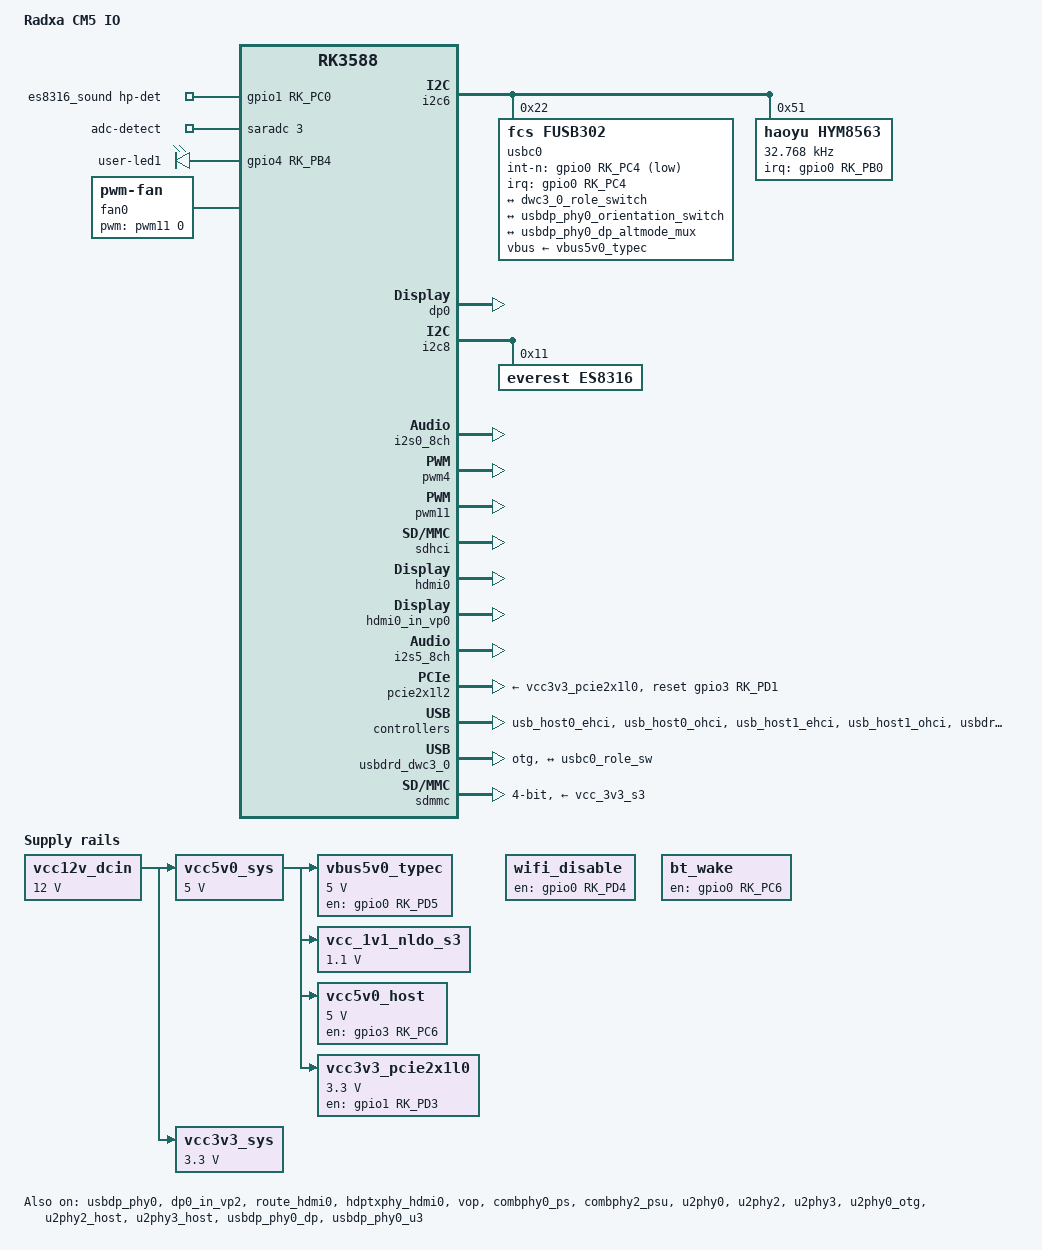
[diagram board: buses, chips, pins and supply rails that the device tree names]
// SPDX-License-Identifier: (GPL-2.0+ OR MIT)
/*
 * Copyright (c) 2023 Rockchip Electronics Co., Ltd.
 * Copyright (c) 2023 Radxa Limited
 *
 */

/dts-v1/;

#include "rk3588s-radxa-cm5.dtsi"

/ {
	model = "Radxa CM5 IO";
	compatible = "radxa,cm5-io", "radxa,cm5", "rockchip,rk3588";

	/delete-node/ chosen;

	vcc12v_dcin: vcc12v-dcin {
		compatible = "regulator-fixed";
		regulator-name = "vcc12v_dcin";
		regulator-always-on;
		regulator-boot-on;
		regulator-min-microvolt = <12000000>;
		regulator-max-microvolt = <12000000>;
	};

	vcc5v0_sys: vcc5v0-sys {
		compatible = "regulator-fixed";
		regulator-name = "vcc5v0_sys";
		regulator-always-on;
		regulator-boot-on;
		regulator-min-microvolt = <5000000>;
		regulator-max-microvolt = <5000000>;
		vin-supply = <&vcc12v_dcin>;
	};

	vbus5v0_typec: vbus5v0-typec {
		compatible = "regulator-fixed";
		regulator-name = "vbus5v0_typec";
		gpio = <&gpio0 RK_PD5 GPIO_ACTIVE_HIGH>;
		pinctrl-names = "default";
		pinctrl-0 = <&vbus5v0_typec_en>;
		enable-active-high;
		regulator-boot-on;
		regulator-min-microvolt = <5000000>;
		regulator-max-microvolt = <5000000>;
		vin-supply = <&vcc5v0_sys>;
	};

	vcc_1v1_nldo_s3: vcc-1v1-nldo-s3 {
		compatible = "regulator-fixed";
		regulator-name = "vcc_1v1_nldo_s3";
		regulator-always-on;
		regulator-boot-on;
		regulator-min-microvolt = <1100000>;
		regulator-max-microvolt = <1100000>;
		vin-supply = <&vcc5v0_sys>;
	};

	hdmi0_sound: hdmi0-sound {
		status = "okay";
		compatible = "rockchip,hdmi";
		rockchip,mclk-fs = <128>;
		rockchip,card-name = "rockchip-hdmi0";
		rockchip,cpu = <&i2s5_8ch>;
		rockchip,codec = <&hdmi0>;
		rockchip,jack-det;
	};

	es8316_sound: es8316-sound {
		status = "okay";
		compatible = "rockchip,multicodecs-card";
		rockchip,card-name = "rockchip-es8316";
		rockchip,format = "i2s";
		rockchip,mclk-fs = <256>;
		rockchip,cpu = <&i2s0_8ch>;
		rockchip,codec = <&es8316>;
		poll-interval = <100>;
		io-channels = <&saradc 3>;
		io-channel-names = "adc-detect";
		keyup-threshold-microvolt = <1800000>;
		pinctrl-0 = <&hp_det>;
		pinctrl-names = "default";
		hp-det-gpio = <&gpio1 RK_PC0 GPIO_ACTIVE_HIGH>;
		play-pause-key {
			label = "playpause";
			linux,code = <164>;
			press-threshold-microvolt = <2000>;
		};
	};

	vcc3v3_sys: vcc3v3-sys {
		compatible = "regulator-fixed";
		regulator-name = "vcc3v3_sys";
		regulator-always-on;
		regulator-boot-on;
		regulator-min-microvolt = <3300000>;
		regulator-max-microvolt = <3300000>;
		vin-supply = <&vcc12v_dcin>;
	};

	vcc5v0_host: vcc5v0-host-regulator {
		compatible = "regulator-fixed";
		regulator-name = "vcc5v0_host";
		regulator-boot-on;
		regulator-always-on;
		regulator-min-microvolt = <5000000>;
		regulator-max-microvolt = <5000000>;
		enable-active-high;
		gpio = <&gpio3 RK_PC6 GPIO_ACTIVE_HIGH>;
		pinctrl-names = "default";
		pinctrl-0 = <&vcc5v0_host_en>;
		vin-supply = <&vcc5v0_sys>;
	};

	vcc3v3_pcie2x1l0: vcc3v3-pcie2x1l0 {
		compatible = "regulator-fixed";
		regulator-name = "vcc3v3_pcie2x1l0";
		regulator-min-microvolt = <3300000>;
		regulator-max-microvolt = <3300000>;
		enable-active-high;
		regulator-boot-on;
		regulator-always-on;
		gpios = <&gpio1 RK_PD3 GPIO_ACTIVE_HIGH>;
		startup-delay-us = <50000>;
		vin-supply = <&vcc5v0_sys>;
	};

	wifi_disable: wifi-diable-gpio-regulator {
		compatible = "regulator-fixed";
		regulator-name = "wifi_disable";
		enable-active-high;
		gpio = <&gpio0 RK_PD4 GPIO_ACTIVE_HIGH>;
		regulator-boot-on;
		regulator-always-on;
	};

	bt_wake: bt-wake-gpio-regulator {
		compatible = "regulator-fixed";
		regulator-name = "bt_wake";
		enable-active-high;
		gpio = <&gpio0 RK_PC6 GPIO_ACTIVE_HIGH>;
		regulator-boot-on;
		regulator-always-on;
	};

    gpio-leds {
		compatible = "gpio-leds";
		pinctrl-names = "default";

		user-led1 {
			gpios = <&gpio4 RK_PB4 GPIO_ACTIVE_HIGH>;
			linux,default-trigger = "heartbeat";
			default-state = "on";
		};
	};

	fan0: pwm-fan {
		compatible = "pwm-fan";
		#cooling-cells = <2>;
		cooling-levels = <100 160 190 200 215 235 255>;
		pwms = <&pwm11 0 10000 0>;
		rockchip,temp-trips = <
			55000	1
			60000	2
			65000	3
			70000	4
			75000	5
			80000	6
		>;
	};
};

&i2c6 {
	status = "okay";
	pinctrl-names = "default";
	pinctrl-0 = <&i2c6m3_xfer>;

	usbc0: fusb302@22 {
		compatible = "fcs,fusb302";
		reg = <0x22>;
		interrupt-parent = <&gpio0>;
		interrupts = <RK_PC4 IRQ_TYPE_LEVEL_LOW>;
		int-n-gpios = <&gpio0 RK_PC4 GPIO_ACTIVE_LOW>;
		pinctrl-names = "default";
		pinctrl-0 = <&usbc0_int>;
		vbus-supply = <&vbus5v0_typec>;
		status = "okay";

		ports {
			#address-cells = <1>;
			#size-cells = <0>;
			port@0 {
			reg = <0>;
			usbc0_role_sw: endpoint@0 {
				remote-endpoint = <&dwc3_0_role_switch>;
				};
			};
		};

		usb_con: connector {
			compatible = "usb-c-connector";
			label = "USB-C";
			data-role = "dual";
			power-role = "dual";
			try-power-role = "sink";
			op-sink-microwatt = <1000000>;

			sink-pdos =
				<PDO_FIXED(5000, 1000, PDO_FIXED_USB_COMM)>;
			source-pdos =
				<PDO_FIXED(5000, 3000, PDO_FIXED_USB_COMM)>;

			altmodes {
				#address-cells = <1>;
				#size-cells = <0>;

				altmode@0 {
					reg = <0>;
					svid = <0xff01>;
					vdo = <0xffffffff>;
				};
			};

			ports {
				#address-cells = <1>;
				#size-cells = <0>;

				port@0 {
					reg = <0>;
					usbc0_orien_sw: endpoint {
						remote-endpoint = <&usbdp_phy0_orientation_switch>;
					};
				};

				port@1 {
					reg = <1>;
					dp_altmode_mux: endpoint {
						remote-endpoint = <&usbdp_phy0_dp_altmode_mux>;
					};
				};
			};
		};
	};

	hym8563: hym8563@51 {
		compatible = "haoyu,hym8563";
		reg = <0x51>;
		#clock-cells = <0>;
		clock-frequency = <32768>;
		clock-output-names = "hym8563";
		pinctrl-names = "default";
		pinctrl-0 = <&rtc_int>;
		interrupt-parent = <&gpio0>;
		interrupts = <RK_PB0 IRQ_TYPE_LEVEL_LOW>;
	};
};

&usbdp_phy0 {
	status = "okay";
	orientation-switch;
	svid = <0xff01>;
	sbu1-dc-gpios = <&gpio3 RK_PC4 GPIO_ACTIVE_HIGH>;
	sbu2-dc-gpios = <&gpio3 RK_PD4 GPIO_ACTIVE_HIGH>;

	port {
		#address-cells = <1>;
		#size-cells = <0>;
		usbdp_phy0_orientation_switch: endpoint@0 {
			reg = <0>;
			remote-endpoint = <&usbc0_orien_sw>;
		};

		usbdp_phy0_dp_altmode_mux: endpoint@1 {
			reg = <1>;
			remote-endpoint = <&dp_altmode_mux>;
		};
	};
};

&dp0 {
	status = "okay";
};

&dp0_in_vp2 {
	status = "okay";
};

&i2c8 {
	status = "okay";
	pinctrl-0 = <&i2c8m2_xfer>;

	es8316: es8316@11 {
		compatible = "everest,es8316";
		reg = <0x11>;
		clocks = <&cru I2S0_8CH_MCLKOUT>;
		clock-names = "mclk";
		pinctrl-names = "default";
		pinctrl-0 = <&i2s0_mclk>;
		#sound-dai-cells = <0>;
		status = "okay";
	};
};

&i2s0_8ch {
	status = "okay";
	rockchip,playback-channels = <2>;
	rockchip,capture-channels = <2>;
	#sound-dai-cells = <0>;
	pinctrl-names = "default";
	pinctrl-0 = <&i2s0_lrck
			 &i2s0_sclk
			 &i2s0_sdi0
			 &i2s0_sdo0>;
};


&pwm4 {
	status = "okay";
	pinctrl-0 = <&pwm4m0_pins>;
};

&pwm11 {
	status = "okay";
	pinctrl-0 = <&pwm11m3_pins>;
};

&sdhci {
	status = "okay";
};

&hdmi0 {
	status = "okay";
};

&hdmi0_in_vp0 {
	status = "okay";
};

&route_hdmi0 {
	status = "okay";
};

&hdptxphy_hdmi0 {
	status = "okay";
};

&i2s5_8ch {
	status = "okay";
};

&vop {
	status = "okay";
};

&vop_mmu {
	status = "okay";
};

&vp0 {
	rockchip,plane-mask = <(1 << ROCKCHIP_VOP2_CLUSTER0 | 1 << ROCKCHIP_VOP2_ESMART0)>;
	rockchip,primary-plane = <ROCKCHIP_VOP2_CLUSTER0>;
	cursor-win-id = <ROCKCHIP_VOP2_ESMART0>;
};

&vp1 {
	rockchip,plane-mask = <(1 << ROCKCHIP_VOP2_CLUSTER1 | 1 << ROCKCHIP_VOP2_ESMART1)>;
	rockchip,primary-plane = <ROCKCHIP_VOP2_CLUSTER1>;
	cursor-win-id = <ROCKCHIP_VOP2_ESMART1>;
};

&vp2 {
	rockchip,plane-mask = <(1 << ROCKCHIP_VOP2_CLUSTER2 | 1 << ROCKCHIP_VOP2_ESMART2)>;
	rockchip,primary-plane = <ROCKCHIP_VOP2_CLUSTER2>;
	cursor-win-id = <ROCKCHIP_VOP2_ESMART2>;
};

&vp3 {
	rockchip,plane-mask = <(1 << ROCKCHIP_VOP2_CLUSTER3 | 1 << ROCKCHIP_VOP2_ESMART3)>;
	rockchip,primary-plane = <ROCKCHIP_VOP2_CLUSTER3>;
	cursor-win-id = <ROCKCHIP_VOP2_ESMART3>;
};

&display_subsystem {
	clocks = <&hdptxphy_hdmi_clk0>;
	clock-names = "hdmi0_phy_pll";
};

&hdptxphy_hdmi_clk0 {
	status = "okay";
};

&pinctrl {

	usb {
		vcc5v0_host_en: vcc5v0-host-en {
			rockchip,pins = <3 RK_PC6 RK_FUNC_GPIO &pcfg_pull_none>;
		};
	};

	headphone {
		hp_det: hp-det {
			rockchip,pins = <1 RK_PC0 RK_FUNC_GPIO &pcfg_pull_up>;
		};
	};

	fusb302 {
		vbus5v0_typec_en: vbus5v0-typec-en {
			rockchip,pins = <0 RK_PD5 RK_FUNC_GPIO &pcfg_pull_none>;
		};

		usbc0_int: usbc0-int {
			rockchip,pins = <0 RK_PC4 RK_FUNC_GPIO &pcfg_pull_up>;
		};
	};

	hym8563 {
		rtc_int: rtc-int {
			rockchip,pins = <0 RK_PB0 RK_FUNC_GPIO &pcfg_pull_up>;
		};
	};
};

&pcie2x1l2 {
	reset-gpios = <&gpio3 RK_PD1 GPIO_ACTIVE_HIGH>;
	vpcie3v3-supply = <&vcc3v3_pcie2x1l0>;
	status = "okay";
};

&combphy0_ps {
	status = "okay";
};

&combphy2_psu {
	status = "okay";
};

&u2phy0 {
	status = "okay";
};

&u2phy2 {
	status = "okay";
};

&u2phy3 {
	status = "okay";
};

&u2phy0_otg {
	rockchip,sel-pipe-phystatus;
	rockchip,typec-vbus-det;
	status = "okay";
};

&u2phy2_host {
	status = "okay";
};

&u2phy3_host {
	status = "okay";
};

&usb_host0_ehci {
	status = "okay";
};

&usb_host0_ohci {
	status = "okay";
};

&usb_host1_ehci {
	status = "okay";
};

&usb_host1_ohci {
	status = "okay";
};

&usbdp_phy0 {
	status = "okay";
};

&usbdp_phy0_dp {
	status = "okay";
};

&usbdp_phy0_u3 {
	status = "okay";
};

&usbdrd3_0 {
	status = "okay";
};

&usbdrd_dwc3_0 {
	dr_mode = "otg";
	extcon = <&u2phy0>;
	status = "okay";

	usb-role-switch;
	port {
		#address-cells = <1>;
		#size-cells = <0>;
		dwc3_0_role_switch: endpoint@0 {
			reg = <0>;
			remote-endpoint = <&usbc0_role_sw>;
		};
	};
};

&usbhost3_0 {
	status = "okay";
};

&usbhost_dwc3_0 {
	status = "okay";
};

&sdmmc {
	max-frequency = <200000000>;
	no-sdio;
	no-mmc;
	bus-width = <4>;
	cap-mmc-highspeed;
	cap-sd-highspeed;
	disable-wp;
	sd-uhs-sdr104;
	vmmc-supply = <&vcc_3v3_s3>;
	vqmmc-supply = <&vccio_sd_s0>;
	pinctrl-names = "default";
	pinctrl-0 = <&sdmmc_bus4 &sdmmc_clk &sdmmc_cmd &sdmmc_det>;
	status = "okay";
};


